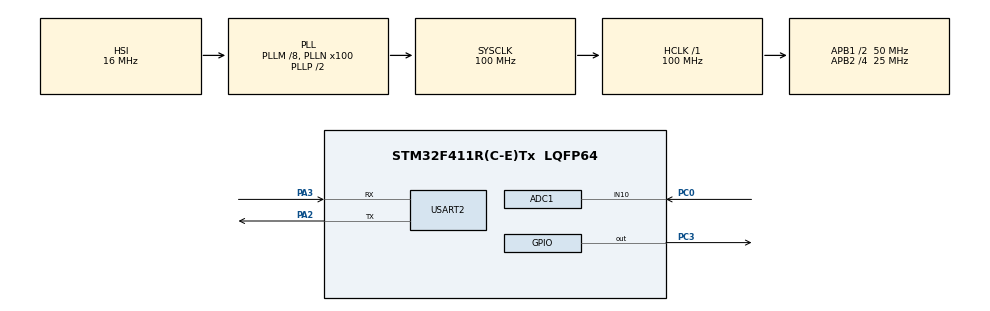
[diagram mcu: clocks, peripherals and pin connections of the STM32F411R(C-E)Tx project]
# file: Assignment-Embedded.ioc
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ADC1.Channel-0\#ChannelRegularConversion=ADC_CHANNEL_10
ADC1.ClockPrescaler=ADC_CLOCK_SYNC_PCLK_DIV4
ADC1.ContinuousConvMode=ENABLE
ADC1.DMAContinuousRequests=DISABLE
ADC1.DataAlign=ADC_DATAALIGN_RIGHT
ADC1.DiscontinuousConvMode=DISABLE
ADC1.EOCSelection=ADC_EOC_SINGLE_CONV
ADC1.EnableAnalogWatchDog=false
ADC1.ExternalTrigConv=ADC_SOFTWARE_START
ADC1.ExternalTrigConvEdge=ADC_EXTERNALTRIGCONVEDGE_NONE
ADC1.InjNumberOfConversion=0
ADC1.NbrOfConversion=1
ADC1.NbrOfConversionFlag=1
ADC1.Rank-0\#ChannelRegularConversion=1
ADC1.Resolution=ADC_RESOLUTION_12B
ADC1.SamplingTime-0\#ChannelRegularConversion=ADC_SAMPLETIME_3CYCLES
ADC1.ScanConvMode=DISABLE
ADC1.master=1
Mcu.Family=STM32F4
Mcu.Name=STM32F411R(C-E)Tx
Mcu.Package=LQFP64
NVIC.PriorityGroup=NVIC_PRIORITYGROUP_4
NVIC.RTC_Alarm_IRQn=true\:0\:0\:false\:false\:true\:true
PA2.GPIO_Speed=GPIO_SPEED_FREQ_HIGH
PA2.Mode=Asynchronous
PA2.Signal=USART2_TX
PA3.GPIO_Speed=GPIO_SPEED_FREQ_HIGH
PA3.Mode=Asynchronous
PA3.Signal=USART2_RX
PC0.Signal=ADCx_IN10
PC3.GPIO_Speed=GPIO_SPEED_FREQ_HIGH
PC3.PinState=GPIO_PIN_RESET
PC3.Signal=GPIO_Output
PH0\ -\ OSC_IN.Mode=HSE-External-Oscillator
PH0\ -\ OSC_IN.Signal=RCC_OSC_IN
PH1\ -\ OSC_OUT.Mode=HSE-External-Oscillator
PH1\ -\ OSC_OUT.Signal=RCC_OSC_OUT
ProjectManager.HeapSize=0x200
ProjectManager.StackSize=0x400
ProjectManager.TargetToolchain=MDK-ARM V5
RCC.48MHZClocksFreq_Value=50000000
RCC.AHBFreq_Value=100000000
RCC.APB1CLKDivider=RCC_HCLK_DIV2
RCC.APB1Freq_Value=50000000
RCC.APB1TimFreq_Value=100000000
RCC.APB2CLKDivider=RCC_HCLK_DIV4
RCC.APB2Freq_Value=25000000
RCC.APB2TimFreq_Value=50000000
RCC.CortexFreq_Value=100000000
RCC.HCLKFreq_Value=100000000
RCC.HSE_VALUE=25000000
RCC.HSI_VALUE=16000000
RCC.LSE_VALUE=32768
RCC.PLLM=8
RCC.PLLN=100
RCC.RCC_RTC_Clock_Source=RCC_RTCCLKSOURCE_LSI
RCC.RCC_RTC_Clock_SourceVirtual=RCC_RTCCLKSOURCE_LSE
RCC.SYSCLKFreq_VALUE=100000000
RCC.SYSCLKSource=RCC_SYSCLKSOURCE_PLLCLK
RCC.VCOOutputFreq_Value=200000000
RTC.Alarm=RTC_ALARM_A
RTC.AsynchPrediv=80-1
RTC.Date=27
RTC.Month=RTC_MONTH_APRIL
RTC.SynchPrediv=500-1
RTC.WeekDay=RTC_WEEKDAY_FRIDAY
SH.ADCx_IN10.0=ADC1_IN10,IN10
USART2.VirtualMode=VM_ASYNC
VP_RTC_VS_RTC_Activate.Mode=RTC_Enabled
VP_RTC_VS_RTC_Alarm_A_Intern.Mode=Alarm A
VP_RTC_VS_RTC_Calendar.Mode=RTC_Calendar
board=Assignment-Embedded

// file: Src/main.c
/**
  ******************************************************************************
  * @file           : main.c
  * @brief          : Main program body
  ******************************************************************************
  ** This notice applies to any and all portions of this file
  * that are not between comment pairs USER CODE BEGIN and
  * USER CODE END. Other portions of this file, whether
  * inserted by the user or by software development tools
  * are owned by their respective copyright owners.
  *
  * COPYRIGHT(c) 2018 STMicroelectronics
  *
  * Redistribution and use in source and binary forms, with or without modification,
  * are permitted provided that the following conditions are met:
  *   1. Redistributions of source code must retain the above copyright notice,
  *      this list of conditions and the following disclaimer.
  *   2. Redistributions in binary form must reproduce the above copyright notice,
  *      this list of conditions and the following disclaimer in the documentation
  *      and/or other materials provided with the distribution.
  *   3. Neither the name of STMicroelectronics nor the names of its contributors
  *      may be used to endorse or promote products derived from this software
  *      without specific prior written permission.
  *
  * THIS SOFTWARE IS PROVIDED BY THE COPYRIGHT HOLDERS AND CONTRIBUTORS "AS IS"
  * AND ANY EXPRESS OR IMPLIED WARRANTIES, INCLUDING, BUT NOT LIMITED TO, THE
  * IMPLIED WARRANTIES OF MERCHANTABILITY AND FITNESS FOR A PARTICULAR PURPOSE ARE
  * DISCLAIMED. IN NO EVENT SHALL THE COPYRIGHT HOLDER OR CONTRIBUTORS BE LIABLE
  * FOR ANY DIRECT, INDIRECT, INCIDENTAL, SPECIAL, EXEMPLARY, OR CONSEQUENTIAL
  * DAMAGES (INCLUDING, BUT NOT LIMITED TO, PROCUREMENT OF SUBSTITUTE GOODS OR
  * SERVICES; LOSS OF USE, DATA, OR PROFITS; OR BUSINESS INTERRUPTION) HOWEVER
  * CAUSED AND ON ANY THEORY OF LIABILITY, WHETHER IN CONTRACT, STRICT LIABILITY,
  * OR TORT (INCLUDING NEGLIGENCE OR OTHERWISE) ARISING IN ANY WAY OUT OF THE USE
  * OF THIS SOFTWARE, EVEN IF ADVISED OF THE POSSIBILITY OF SUCH DAMAGE.
  *
  ******************************************************************************
  */
#include "main.h"
#include "stm32f4xx_hal.h"
#include <string.h>

ADC_HandleTypeDef hadc1;

RTC_HandleTypeDef hrtc;

UART_HandleTypeDef huart2;

/* USER CODE BEGIN PV */
/* Private variables ---------------------------------------------------------*/
ADC_HandleTypeDef hadc1;

RTC_HandleTypeDef hrtc;

UART_HandleTypeDef huart2;

//variable for RTC date time
RTC_TimeTypeDef currentTime;
RTC_DateTypeDef currentDate;

//variable for hours minutes
uint8_t wake_up_flag = 0;

uint8_t wake_up_flag_Hour = 0;
uint8_t wake_up_flag_Minute = 0;
uint8_t wake_up_flag_Sec = 0;

/* USER CODE END PV */

void SystemClock_Config(void);
static void MX_GPIO_Init(void);
static void MX_ADC1_Init(void);
static void MX_USART2_UART_Init(void);
static void MX_RTC_Init(void);

/* USER CODE BEGIN PFP */
/* Private function prototypes -----------------------------------------------*/
//void displayHEX(void);
void IRC_TimeShow(void);

#ifdef __GNUC__
	#define PUTCHAR_PROTOTYPE int __io_putchar(int ch)
#else
	#define PUTCHAR_PROTOTYPE int fputc(int ch, FILE *f)
#endif
/* USER CODE END PFP */

/* USER CODE BEGIN 0 */
PUTCHAR_PROTOTYPE
{
	HAL_UART_Transmit(&huart2, (uint8_t *)&ch, 1, 0xFFFF);
	return ch;
}
/* USER CODE END 0 */

int main(void)
{

  /* MCU Configuration----------------------------------------------------------*/

  /* Reset of all peripherals, Initializes the Flash interface and the Systick. */
  HAL_Init();

  /* Configure the system clock */
  SystemClock_Config();

  /* Initialize all configured peripherals */
  MX_GPIO_Init();
  MX_ADC1_Init();
  MX_USART2_UART_Init();
  MX_RTC_Init();
  /* USER CODE BEGIN 2 */
	volatile uint32_t adc_val = 0;
	HAL_ADC_Start(&hadc1);
  /* USER CODE END 2 */

  /* Infinite loop */
  while (1)
  {

  /* USER CODE BEGIN 3 */
			IRC_TimeShow();
			HAL_RTC_GetTime(&hrtc, &currentTime, RTC_FORMAT_BIN);
			HAL_ADC_Start(&hadc1);
			while(HAL_ADC_PollForConversion(&hadc1, 100) != HAL_OK) {}
			adc_val = (uint32_t)HAL_ADC_GetValue(&hadc1);
			//printf("Lux : ");
				printf("\r%03d||\r", adc_val);
			HAL_Delay(1000);

			if (adc_val < 100 || (currentTime.Minutes >= 1 && currentTime.Minutes <= 2 && currentTime.Seconds >= 0) )
			{
				HAL_GPIO_WritePin(GPIOC, GPIO_PIN_3, GPIO_PIN_SET);
					//printf("Hello\r");
			}

			else
			{
				HAL_GPIO_WritePin(GPIOC, GPIO_PIN_3, GPIO_PIN_RESET);
			}
  }
  /* USER CODE END 3 */

}

void SystemClock_Config(void)
{

  RCC_OscInitTypeDef RCC_OscInitStruct;
  RCC_ClkInitTypeDef RCC_ClkInitStruct;
  RCC_PeriphCLKInitTypeDef PeriphClkInitStruct;

    /**Configure the main internal regulator output voltage
    */
  __HAL_RCC_PWR_CLK_ENABLE();

  __HAL_PWR_VOLTAGESCALING_CONFIG(PWR_REGULATOR_VOLTAGE_SCALE1);

    /**Initializes the CPU, AHB and APB busses clocks
    */
  RCC_OscInitStruct.OscillatorType = RCC_OSCILLATORTYPE_HSI|RCC_OSCILLATORTYPE_LSI;
  RCC_OscInitStruct.HSIState = RCC_HSI_ON;
  RCC_OscInitStruct.HSICalibrationValue = 16;
  RCC_OscInitStruct.LSIState = RCC_LSI_ON;
  RCC_OscInitStruct.PLL.PLLState = RCC_PLL_ON;
  RCC_OscInitStruct.PLL.PLLSource = RCC_PLLSOURCE_HSI;
  RCC_OscInitStruct.PLL.PLLM = 8;
  RCC_OscInitStruct.PLL.PLLN = 100;
  RCC_OscInitStruct.PLL.PLLP = RCC_PLLP_DIV2;
  RCC_OscInitStruct.PLL.PLLQ = 4;
  if (HAL_RCC_OscConfig(&RCC_OscInitStruct) != HAL_OK)
  {
    _Error_Handler(__FILE__, __LINE__);
  }

    /**Initializes the CPU, AHB and APB busses clocks
    */
  RCC_ClkInitStruct.ClockType = RCC_CLOCKTYPE_HCLK|RCC_CLOCKTYPE_SYSCLK
                              |RCC_CLOCKTYPE_PCLK1|RCC_CLOCKTYPE_PCLK2;
  RCC_ClkInitStruct.SYSCLKSource = RCC_SYSCLKSOURCE_PLLCLK;
  RCC_ClkInitStruct.AHBCLKDivider = RCC_SYSCLK_DIV1;
  RCC_ClkInitStruct.APB1CLKDivider = RCC_HCLK_DIV2;
  RCC_ClkInitStruct.APB2CLKDivider = RCC_HCLK_DIV4;

  if (HAL_RCC_ClockConfig(&RCC_ClkInitStruct, FLASH_LATENCY_3) != HAL_OK)
  {
    _Error_Handler(__FILE__, __LINE__);
  }

  PeriphClkInitStruct.PeriphClockSelection = RCC_PERIPHCLK_RTC;
  PeriphClkInitStruct.RTCClockSelection = RCC_RTCCLKSOURCE_LSI;
  if (HAL_RCCEx_PeriphCLKConfig(&PeriphClkInitStruct) != HAL_OK)
  {
    _Error_Handler(__FILE__, __LINE__);
  }

    /**Configure the Systick interrupt time
    */
  HAL_SYSTICK_Config(HAL_RCC_GetHCLKFreq()/1000);

    /**Configure the Systick
    */
  HAL_SYSTICK_CLKSourceConfig(SYSTICK_CLKSOURCE_HCLK);

  /* SysTick_IRQn interrupt configuration */
  HAL_NVIC_SetPriority(SysTick_IRQn, 0, 0);
}

/* ADC1 init function */
static void MX_ADC1_Init(void)
{

  ADC_ChannelConfTypeDef sConfig;

    /**Configure the global features of the ADC (Clock, Resolution, Data Alignment and number of conversion)
    */
  hadc1.Instance = ADC1;
  hadc1.Init.ClockPrescaler = ADC_CLOCK_SYNC_PCLK_DIV4;
  hadc1.Init.Resolution = ADC_RESOLUTION_12B;
  hadc1.Init.ScanConvMode = DISABLE;
  hadc1.Init.ContinuousConvMode = ENABLE;
  hadc1.Init.DiscontinuousConvMode = DISABLE;
  hadc1.Init.ExternalTrigConvEdge = ADC_EXTERNALTRIGCONVEDGE_NONE;
  hadc1.Init.ExternalTrigConv = ADC_SOFTWARE_START;
  hadc1.Init.DataAlign = ADC_DATAALIGN_RIGHT;
  hadc1.Init.NbrOfConversion = 1;
  hadc1.Init.DMAContinuousRequests = DISABLE;
  hadc1.Init.EOCSelection = ADC_EOC_SINGLE_CONV;
  if (HAL_ADC_Init(&hadc1) != HAL_OK)
  {
    _Error_Handler(__FILE__, __LINE__);
  }

    /**Configure for the selected ADC regular channel its corresponding rank in the sequencer and its sample time.
    */
  sConfig.Channel = ADC_CHANNEL_10;
  sConfig.Rank = 1;
  sConfig.SamplingTime = ADC_SAMPLETIME_3CYCLES;
  if (HAL_ADC_ConfigChannel(&hadc1, &sConfig) != HAL_OK)
  {
    _Error_Handler(__FILE__, __LINE__);
  }

}

/* RTC init function */
static void MX_RTC_Init(void)
{

  RTC_TimeTypeDef sTime;
  RTC_DateTypeDef sDate;
  RTC_AlarmTypeDef sAlarm;

    /**Initialize RTC Only
    */
  hrtc.Instance = RTC;
if(HAL_RTCEx_BKUPRead(&hrtc, RTC_BKP_DR0) != 0x32F2){
  hrtc.Init.HourFormat = RTC_HOURFORMAT_24;
  hrtc.Init.AsynchPrediv = 80-1;
  hrtc.Init.SynchPrediv = 500-1;
  hrtc.Init.OutPut = RTC_OUTPUT_DISABLE;
  hrtc.Init.OutPutPolarity = RTC_OUTPUT_POLARITY_HIGH;
  hrtc.Init.OutPutType = RTC_OUTPUT_TYPE_OPENDRAIN;
  if (HAL_RTC_Init(&hrtc) != HAL_OK)
  {
    _Error_Handler(__FILE__, __LINE__);
  }

    /**Initialize RTC and set the Time and Date
    */
  sTime.Hours = 0x0;
  sTime.Minutes = 0x0;
  sTime.Seconds = 0x0;
  sTime.DayLightSaving = RTC_DAYLIGHTSAVING_NONE;
  sTime.StoreOperation = RTC_STOREOPERATION_RESET;
  if (HAL_RTC_SetTime(&hrtc, &sTime, RTC_FORMAT_BCD) != HAL_OK)
  {
    _Error_Handler(__FILE__, __LINE__);
  }

  sDate.WeekDay = RTC_WEEKDAY_FRIDAY;
  sDate.Month = RTC_MONTH_APRIL;
  sDate.Date = 0x27;
  sDate.Year = 0x0;

  if (HAL_RTC_SetDate(&hrtc, &sDate, RTC_FORMAT_BCD) != HAL_OK)
  {
    _Error_Handler(__FILE__, __LINE__);
  }

    /**Enable the Alarm A
    */
  sAlarm.AlarmTime.Hours = 0x0;
  sAlarm.AlarmTime.Minutes = 0x0;
  sAlarm.AlarmTime.Seconds = 0x0;
  sAlarm.AlarmTime.SubSeconds = 0x0;
	wake_up_flag_Hour = sAlarm.AlarmTime.Hours;
	wake_up_flag_Minute = sAlarm.AlarmTime.Minutes;
	wake_up_flag_Sec = sAlarm.AlarmTime.Seconds;
  sAlarm.AlarmTime.DayLightSaving = RTC_DAYLIGHTSAVING_NONE;
  sAlarm.AlarmTime.StoreOperation = RTC_STOREOPERATION_RESET;
  sAlarm.AlarmMask = RTC_ALARMMASK_NONE;
  sAlarm.AlarmSubSecondMask = RTC_ALARMSUBSECONDMASK_ALL;
  sAlarm.AlarmDateWeekDaySel = RTC_ALARMDATEWEEKDAYSEL_DATE;
  sAlarm.AlarmDateWeekDay = 0x1;
  sAlarm.Alarm = RTC_ALARM_A;
  if (HAL_RTC_SetAlarm_IT(&hrtc, &sAlarm, RTC_FORMAT_BCD) != HAL_OK)
  {
    _Error_Handler(__FILE__, __LINE__);
  }

    HAL_RTCEx_BKUPWrite(&hrtc,RTC_BKP_DR0,0x32F2);
  }

}

/* USART2 init function */
static void MX_USART2_UART_Init(void)
{

  huart2.Instance = USART2;
  huart2.Init.BaudRate = 115200;
  huart2.Init.WordLength = UART_WORDLENGTH_8B;
  huart2.Init.StopBits = UART_STOPBITS_1;
  huart2.Init.Parity = UART_PARITY_NONE;
  huart2.Init.Mode = UART_MODE_TX_RX;
  huart2.Init.HwFlowCtl = UART_HWCONTROL_NONE;
  huart2.Init.OverSampling = UART_OVERSAMPLING_16;
  if (HAL_UART_Init(&huart2) != HAL_OK)
  {
    _Error_Handler(__FILE__, __LINE__);
  }

}

/** Configure pins as
        * Analog
        * Input
        * Output
        * EVENT_OUT
        * EXTI
*/
static void MX_GPIO_Init(void)
{

  GPIO_InitTypeDef GPIO_InitStruct;

  /* GPIO Ports Clock Enable */
  __HAL_RCC_GPIOH_CLK_ENABLE();
  __HAL_RCC_GPIOC_CLK_ENABLE();
  __HAL_RCC_GPIOA_CLK_ENABLE();

  /*Configure GPIO pin Output Level */
  HAL_GPIO_WritePin(GPIOC, GPIO_PIN_3, GPIO_PIN_RESET);

  /*Configure GPIO pin : PC3 */
  GPIO_InitStruct.Pin = GPIO_PIN_3;
  GPIO_InitStruct.Mode = GPIO_MODE_OUTPUT_PP;
  GPIO_InitStruct.Pull = GPIO_NOPULL;
  GPIO_InitStruct.Speed = GPIO_SPEED_FREQ_HIGH;
  HAL_GPIO_Init(GPIOC, &GPIO_InitStruct);

}

/* USER CODE BEGIN 4 */
//function for display is hex base number from uart to terminal output serial port
//void displayHEX()
//{
////	char str[13];
////	sprintf(str, "0x%08x\n\r", num);
//	char TimeShowCurrent1[30];
//	sprintf(TimeShowCurrent1, "Value: %02d:%02d:%02d\r\n", currentTime.Hours, currentTime.Minutes, currentTime.Seconds);
//	HAL_UART_Transmit(&huart2, (uint8_t *) TimeShowCurrent1, strlen(TimeShowCurrent1), 1000);
//}

void IRC_TimeShow()
{
	//RTC_AlarmTypeDef currentAlarm;

	//char TimeShowCurrent1[20];

  //Get The RTC Current Time
	HAL_RTC_GetTime(&hrtc, &currentTime, RTC_FORMAT_BIN);
	//Get The RTC Current Date
	HAL_RTC_GetDate(&hrtc, &currentDate, RTC_FORMAT_BIN);
	// Get The Alarm Current Time
	//HAL_RTC_GetAlarm(&hrtc, &currentAlarm, RTC_FORMAT_BIN);
	//Dusplay time Format : hh:mm:ss
	//printf("%02d:%02d:%02d\r\n", currentTime.Hours, currentTime.Minutes, currentTime.Seconds);

	//sprintf(TimeShowCurrent1, "Value: %02d:%02d:%02d\r\n", currentTime.Hours, currentTime.Minutes, currentTime.Seconds);
	printf("time : ");
	printf("\%02d:%02d:%02d\r", currentTime.Hours, currentTime.Minutes, currentTime.Seconds);
	//HAL_UART_Transmit(&huart2, (uint8_t*)TimeShowCurrent1, strlen(TimeShowCurrent1), 1000);

//	char wake_up_flag_Show[15];
//	sprintf(wake_up_flag_Show, "Wake UP: %d \r\n", wake_up_flag);
//	HAL_UART_Transmit(&huart2, (uint8_t*)wake_up_flag_Show, strlen(wake_up_flag_Show), 1000);
}
/* USER CODE END 4 */

void _Error_Handler(char *file, int line)
{
  while(1)
  {
  }
}

/************************ (C) COPYRIGHT STMicroelectronics *****END OF FILE****/
